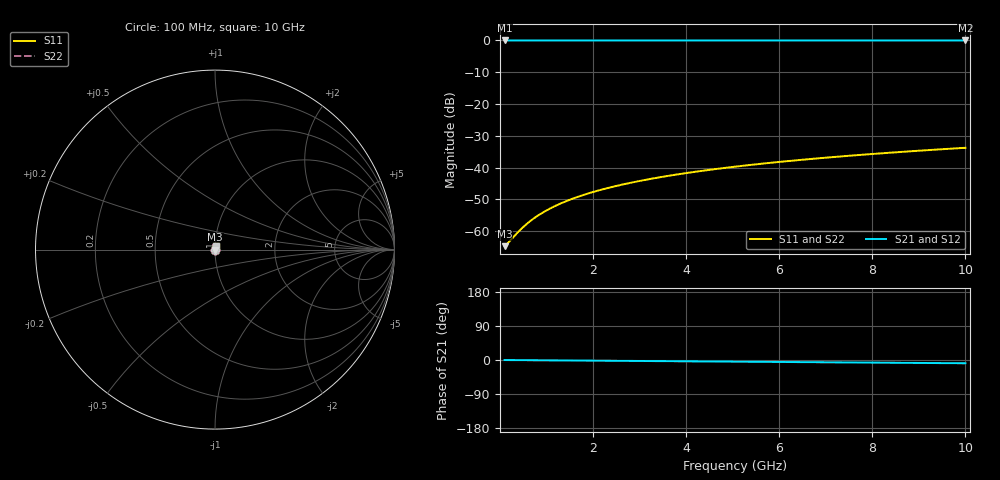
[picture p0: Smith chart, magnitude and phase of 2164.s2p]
# Hz S RI R 50.00
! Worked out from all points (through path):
!   100 points, 100 MHz to 10 GHz, reference 50 ohm
!   highest |S21| = 0.00 dB at 100 MHz (marker M1); lowest = 0.0 dB at 10 GHz (marker M2)
!   group delay of S21, straight-line fit = 2.4 ps
!   lowest |S11| = -64.7 dB at 100 MHz (marker M3), VSWR 1.00, Z = 50.1 + j0.0205 ohm
!   |S11| at or under -10 dB: start of sweep to end of sweep
!   |S22| runs from -64.7 to -33.8 dB; largest |S21 - S12| = 0
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1e8  0.000546 0.000204  0.9995 -0.0015  0.9995 -0.0015  0.000546 0.000204
2e8  0.00055 0.000409  0.9994 -0.00299  0.9994 -0.00299  0.00055 0.000409
4e8  0.000557 0.000818  0.9994 -0.00598  0.9994 -0.00598  0.000557 0.000818
5e8  0.000561 0.00102  0.9994 -0.00748  0.9994 -0.00748  0.000561 0.00102
6e8  0.000566 0.00123  0.9994 -0.00897  0.9994 -0.00897  0.000566 0.00123
7e8  0.000571 0.00143  0.9994 -0.0105  0.9994 -0.0105  0.000571 0.00143
8e8  0.000576 0.00164  0.9994 -0.012  0.9994 -0.012  0.000576 0.00164
1e9  0.000588 0.00204  0.9993 -0.015  0.9993 -0.015  0.000588 0.00204
1.2e9  0.000603 0.00245  0.9993 -0.018  0.9993 -0.018  0.000603 0.00245
1.5e9  0.000629 0.00306  0.9992 -0.0224  0.9992 -0.0224  0.000629 0.00306
1.8e9  0.00066 0.00368  0.999 -0.0269  0.999 -0.0269  0.00066 0.00368
2.1e9  0.000697 0.00429  0.9989 -0.0314  0.9989 -0.0314  0.000697 0.00429
2.5e9  0.000754 0.0051  0.9987 -0.0374  0.9987 -0.0374  0.000754 0.0051
2.9e9  0.000821 0.00591  0.9984 -0.0434  0.9984 -0.0434  0.000821 0.00591
3.4e9  0.000918 0.00693  0.9981 -0.0509  0.9981 -0.0509  0.000918 0.00693
4.2e9  0.0011 0.00855  0.9974 -0.0629  0.9974 -0.0629  0.0011 0.00855
5.1e9  0.00136 0.0104  0.9964 -0.0764  0.9964 -0.0764  0.00136 0.0104
5.9e9  0.00163 0.012  0.9954 -0.0884  0.9954 -0.0884  0.00163 0.012
6.7e9  0.00194 0.0136  0.9942 -0.1004  0.9942 -0.1004  0.00194 0.0136
7.5e9  0.00229 0.0152  0.9929 -0.1124  0.9929 -0.1124  0.00229 0.0152
8.4e9  0.00273 0.017  0.9912 -0.126  0.9912 -0.126  0.00273 0.017
1e10  0.00364 0.0202  0.9878 -0.15  0.9878 -0.15  0.00364 0.0202
